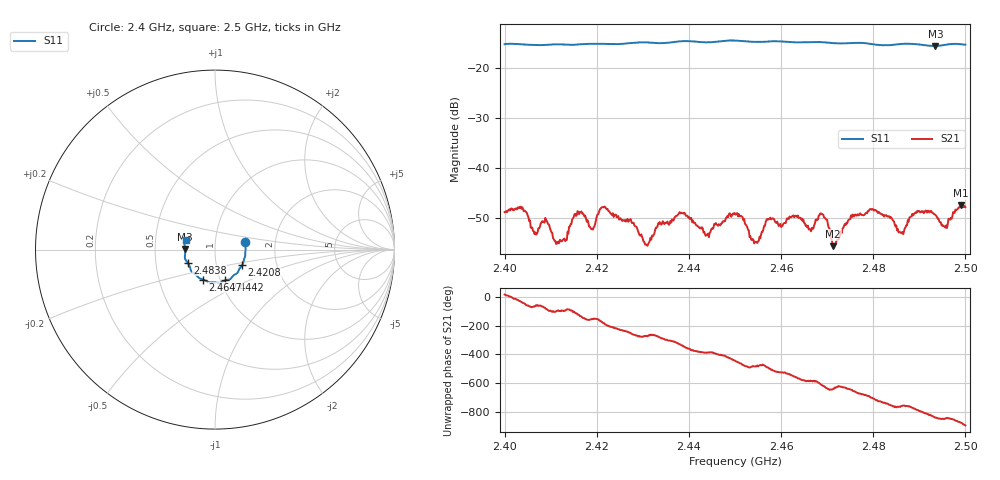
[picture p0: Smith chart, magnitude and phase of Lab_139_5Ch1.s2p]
# Hz S RI R 50
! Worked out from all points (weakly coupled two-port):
!   601 points, 2.4 GHz to 2.5 GHz, reference 50 ohm
!   highest |S21| = -47.59 dB at 2.499 GHz (marker M1); lowest = -55.7 dB at 2.4713 GHz (marker M2)
!   lowest |S11| = -15.6 dB at 2.4935 GHz (marker M3), VSWR 1.40, Z = 35.8 + j0.208 ohm
!   |S11| at or under -10 dB: start of sweep to end of sweep
!   S12 and S22 are empty: the file has one direction only
!   S11 on the Smith chart (normalised r, x): 2.4 GHz: 1.40, +0.12; 2.4208 GHz: 1.33, -0.24; 2.4442 GHz: 1.05, -0.37; 2.4647 GHz: 0.83, -0.29; 2.4838 GHz: 0.73, -0.11; 2.5 GHz: 0.72, +0.08
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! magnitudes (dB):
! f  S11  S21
! 2.4 GHz  -15.2  -48.9
! 2.4113 GHz  -15.3  -54.9
! 2.4167 GHz  -15.3  -48.8
! 2.419 GHz  -15.2  -52.2
! 2.4208 GHz  -15.2  -48.2
! 2.4307 GHz  -14.9  -55.4
! 2.4333 GHz  -15.0  -51.2
! 2.4385 GHz  -14.6  -49.1
! 2.4442 GHz  -14.9  -53.2
! 2.45 GHz  -14.5  -49.2
! 2.4547 GHz  -14.8  -54.9
! 2.4572 GHz  -14.7  -50.4
! 2.4647 GHz  -14.9  -50.7
! 2.4667 GHz  -14.8  -52.1
! 2.469 GHz  -14.8  -49.3
! 2.4713 GHz  -15.0  -55.7
! 2.4757 GHz  -15.0  -49.5
! 2.4833 GHz  -15.5  -49.8
! 2.4838 GHz  -15.4  -49.9
! 2.4935 GHz  -15.6  -49.5
! 2.499 GHz  -15.3  -47.6
! 2.5 GHz  -15.3  -47.9
